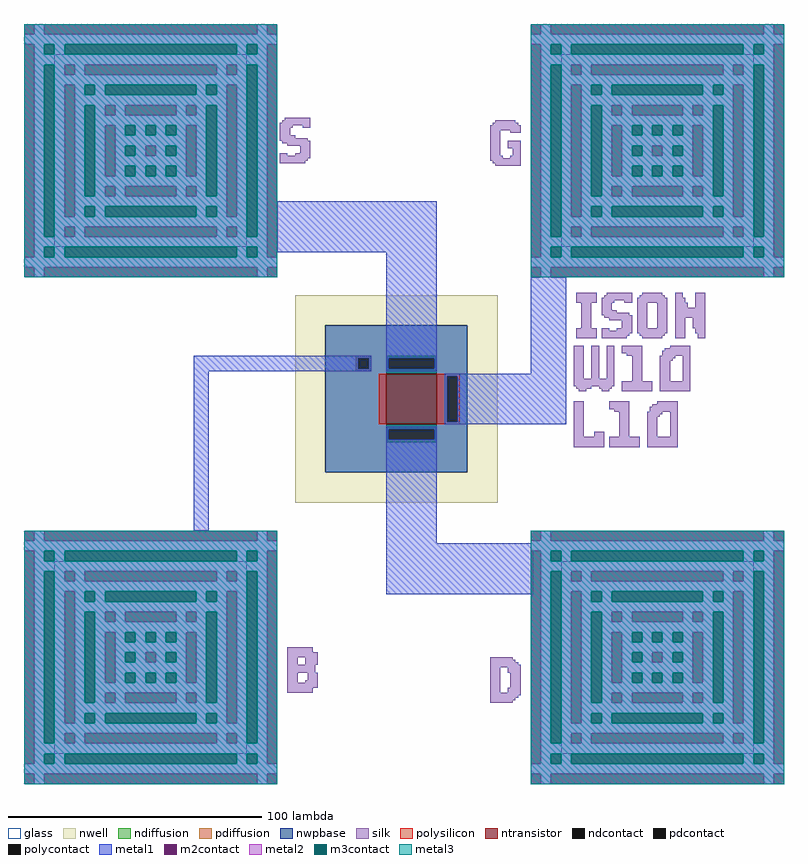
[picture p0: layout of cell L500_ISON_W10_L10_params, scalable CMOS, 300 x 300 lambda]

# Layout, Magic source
magic
tech scmos
<< nwell >>
rect -13 84 67 96
rect -13 26 -1 84
rect 55 26 67 84
rect -13 14 67 26
<< polysilicon >>
rect 20 45 23 65
rect 43 64 52 65
rect 43 46 47 64
rect 51 46 52 64
rect 43 45 52 46
<< ndiffusion >>
rect 23 71 43 72
rect 23 67 24 71
rect 42 67 43 71
rect 23 65 43 67
rect 23 43 43 45
rect 23 39 24 43
rect 42 39 43 43
rect 23 38 43 39
<< pdiffusion >>
rect 11 71 17 72
rect 11 67 12 71
rect 16 67 17 71
rect 11 66 17 67
<< metal1 >>
rect -20 113 43 133
rect -53 71 17 72
rect -53 67 12 71
rect 16 67 17 71
rect -53 66 17 67
rect 23 71 43 113
rect 23 67 24 71
rect 42 67 43 71
rect 23 66 43 67
rect -53 3 -47 66
rect 80 65 94 103
rect 46 64 94 65
rect 46 46 47 64
rect 51 46 94 64
rect 46 45 94 46
rect 23 43 43 44
rect 23 39 24 43
rect 42 39 43 43
rect 23 -2 43 39
rect 23 -22 81 -2
<< ntransistor >>
rect 23 45 43 65
<< nwpbase >>
rect -1 26 55 84
<< polycontact >>
rect 47 46 51 64
<< ndcontact >>
rect 24 67 42 71
rect 24 39 42 43
<< pdcontact >>
rect 12 67 16 71
use L500_TPAD_blank  L500_TPAD_blank_0
transform 1 0 -120 0 1 103
box 0 0 100 100
use L500_CHAR_s  L500_CHAR_s_0
transform 1 0 -19 0 1 148
box 0 0 12 18
use L500_CHAR_g  L500_CHAR_g_0
transform 1 0 64 0 1 147
box 0 0 12 18
use L500_TPAD_blank  L500_TPAD_blank_1
transform 1 0 80 0 1 103
box 0 0 100 100
use L500_CHAR_i  L500_CHAR_i_0
transform 1 0 98 0 1 79
box 0 0 8 18
use L500_CHAR_s  L500_CHAR_s_1
transform 1 0 108 0 1 79
box 0 0 12 18
use L500_CHAR_o  L500_CHAR_o_0
transform 1 0 122 0 1 79
box 0 0 12 18
use L500_CHAR_n  L500_CHAR_n_0
transform 1 0 137 0 1 79
box 0 0 12 18
use L500_CHAR_w  L500_CHAR_w_0
transform 1 0 97 0 1 58
box 0 0 16 18
use L500_CHAR_1  L500_CHAR_1_0
transform 1 0 116 0 1 58
box 0 0 12 18
use L500_CHAR_0  L500_CHAR_0_0
transform 1 0 131 0 1 58
box 0 0 12 18
use L500_CHAR_l  L500_CHAR_l_0
transform 1 0 97 0 1 36
box 0 0 12 18
use L500_CHAR_1  L500_CHAR_1_1
transform 1 0 111 0 1 36
box 0 0 12 18
use L500_CHAR_0  L500_CHAR_0_1
transform 1 0 126 0 1 36
box 0 0 12 18
use L500_TPAD_blank  L500_TPAD_blank_3
transform 1 0 -120 0 1 -97
box 0 0 100 100
use L500_CHAR_b  L500_CHAR_b_0
transform 1 0 -16 0 1 -61
box 0 0 12 18
use L500_CHAR_d  L500_CHAR_d_0
transform 1 0 64 0 1 -65
box 0 0 12 18
use L500_TPAD_blank  L500_TPAD_blank_2
transform 1 0 80 0 1 -97
box 0 0 100 100
<< end >>

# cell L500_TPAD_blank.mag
magic
tech scmos
<< metal1 >>
rect 4 96 8 100
rect 92 96 96 100
rect 0 92 100 96
rect 4 84 96 92
rect 4 80 16 84
rect 20 80 24 84
rect 76 80 80 84
rect 84 80 96 84
rect 4 76 96 80
rect 4 24 16 76
rect 20 68 80 76
rect 20 64 32 68
rect 36 64 40 68
rect 60 64 64 68
rect 68 64 80 68
rect 20 60 80 64
rect 20 40 32 60
rect 36 52 64 60
rect 36 48 48 52
rect 52 48 64 52
rect 36 40 64 48
rect 68 40 80 60
rect 20 36 80 40
rect 20 32 32 36
rect 36 32 40 36
rect 60 32 64 36
rect 68 32 80 36
rect 20 24 80 32
rect 84 24 96 76
rect 4 20 96 24
rect 4 16 16 20
rect 20 16 24 20
rect 76 16 80 20
rect 84 16 96 20
rect 4 8 96 16
rect 0 4 100 8
rect 4 0 8 4
rect 92 0 96 4
<< metal2 >>
rect 4 96 8 100
rect 92 96 96 100
rect 0 92 100 96
rect 4 88 8 92
rect 12 88 16 92
rect 84 88 88 92
rect 92 88 96 92
rect 4 84 96 88
rect 4 16 8 84
rect 12 80 16 84
rect 20 80 24 84
rect 76 80 80 84
rect 84 80 88 84
rect 12 76 88 80
rect 12 24 16 76
rect 20 72 24 76
rect 28 72 32 76
rect 68 72 72 76
rect 76 72 80 76
rect 20 68 80 72
rect 20 32 24 68
rect 28 64 32 68
rect 36 64 40 68
rect 60 64 64 68
rect 68 64 72 68
rect 28 60 72 64
rect 28 40 32 60
rect 36 56 40 60
rect 44 56 48 60
rect 52 56 56 60
rect 60 56 64 60
rect 36 52 64 56
rect 36 48 40 52
rect 44 48 48 52
rect 52 48 56 52
rect 60 48 64 52
rect 36 44 64 48
rect 36 40 40 44
rect 44 40 48 44
rect 52 40 56 44
rect 60 40 64 44
rect 68 40 72 60
rect 28 36 72 40
rect 28 32 32 36
rect 36 32 40 36
rect 60 32 64 36
rect 68 32 72 36
rect 76 32 80 68
rect 20 28 80 32
rect 20 24 24 28
rect 28 24 32 28
rect 68 24 72 28
rect 76 24 80 28
rect 84 24 88 76
rect 12 20 88 24
rect 12 16 16 20
rect 20 16 24 20
rect 76 16 80 20
rect 84 16 88 20
rect 92 16 96 84
rect 4 12 96 16
rect 4 8 8 12
rect 12 8 16 12
rect 84 8 88 12
rect 92 8 96 12
rect 0 4 100 8
rect 4 0 8 4
rect 92 0 96 4
<< metal3 >>
rect 0 92 100 100
rect 0 88 8 92
rect 12 88 16 92
rect 84 88 88 92
rect 92 88 100 92
rect 0 84 100 88
rect 0 16 8 84
rect 12 76 88 84
rect 12 72 24 76
rect 28 72 32 76
rect 68 72 72 76
rect 76 72 88 76
rect 12 68 88 72
rect 12 32 24 68
rect 28 60 72 68
rect 28 56 40 60
rect 44 56 48 60
rect 52 56 56 60
rect 60 56 72 60
rect 28 52 72 56
rect 28 48 40 52
rect 44 48 56 52
rect 60 48 72 52
rect 28 44 72 48
rect 28 40 40 44
rect 44 40 48 44
rect 52 40 56 44
rect 60 40 72 44
rect 28 32 72 40
rect 76 32 88 68
rect 12 28 88 32
rect 12 24 24 28
rect 28 24 32 28
rect 68 24 72 28
rect 76 24 88 28
rect 12 16 88 24
rect 92 16 100 84
rect 0 12 100 16
rect 0 8 8 12
rect 12 8 16 12
rect 84 8 88 12
rect 92 8 100 12
rect 0 0 100 8
<< m2contact >>
rect 0 96 4 100
rect 8 96 92 100
rect 96 96 100 100
rect 0 8 4 92
rect 16 80 20 84
rect 24 80 76 84
rect 80 80 84 84
rect 16 24 20 76
rect 32 64 36 68
rect 40 64 60 68
rect 64 64 68 68
rect 32 40 36 60
rect 48 48 52 52
rect 64 40 68 60
rect 32 32 36 36
rect 40 32 60 36
rect 64 32 68 36
rect 80 24 84 76
rect 16 16 20 20
rect 24 16 76 20
rect 80 16 84 20
rect 96 8 100 92
rect 0 0 4 4
rect 8 0 92 4
rect 96 0 100 4
<< m3contact >>
rect 8 88 12 92
rect 16 88 84 92
rect 88 88 92 92
rect 8 16 12 84
rect 24 72 28 76
rect 32 72 68 76
rect 72 72 76 76
rect 24 32 28 68
rect 40 56 44 60
rect 48 56 52 60
rect 56 56 60 60
rect 40 48 44 52
rect 56 48 60 52
rect 40 40 44 44
rect 48 40 52 44
rect 56 40 60 44
rect 72 32 76 68
rect 24 24 28 28
rect 32 24 68 28
rect 72 24 76 28
rect 88 16 92 84
rect 8 8 12 12
rect 16 8 84 12
rect 88 8 92 12
<< glass >>
rect 12 12 88 88
<< end >>

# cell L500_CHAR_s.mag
magic
tech scmos
<< silk >>
rect 2 17 12 18
rect 1 16 12 17
rect 0 15 12 16
rect 0 14 5 15
rect 9 14 12 15
rect 0 11 4 14
rect 0 10 6 11
rect 0 9 11 10
rect 1 8 12 9
rect 3 7 12 8
rect 8 4 12 7
rect 0 3 3 4
rect 6 3 12 4
rect 0 2 12 3
rect 0 1 11 2
rect 0 0 10 1
<< end >>

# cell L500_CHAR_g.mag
magic
tech scmos
<< silk >>
rect 2 17 10 18
rect 1 16 11 17
rect 0 14 12 16
rect 0 4 4 14
rect 8 13 12 14
rect 7 7 12 10
rect 9 4 12 7
rect 0 3 5 4
rect 8 3 12 4
rect 0 2 12 3
rect 1 1 12 2
rect 2 0 12 1
<< end >>

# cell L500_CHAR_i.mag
magic
tech scmos
<< silk >>
rect 0 14 8 18
rect 2 4 6 14
rect 0 0 8 4
<< end >>

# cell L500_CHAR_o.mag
magic
tech scmos
<< silk >>
rect 2 17 10 18
rect 1 16 11 17
rect 0 14 12 16
rect 0 4 4 14
rect 8 4 12 14
rect 0 2 12 4
rect 1 1 11 2
rect 2 0 10 1
<< end >>

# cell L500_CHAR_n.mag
magic
tech scmos
<< silk >>
rect 0 16 3 18
rect 0 14 4 16
rect 0 12 5 14
rect 8 12 12 18
rect 0 8 12 12
rect 0 0 4 8
rect 7 4 12 8
rect 8 2 12 4
rect 9 0 12 2
<< end >>

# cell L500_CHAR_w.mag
magic
tech scmos
<< silk >>
rect 0 5 4 18
rect 7 5 10 18
rect 13 5 16 18
rect 0 2 16 5
rect 1 1 7 2
rect 10 1 15 2
rect 2 0 5 1
rect 11 0 14 1
<< end >>

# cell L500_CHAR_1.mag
magic
tech scmos
<< silk >>
rect 0 15 8 18
rect 2 14 8 15
rect 4 4 8 14
rect 0 0 12 4
<< end >>

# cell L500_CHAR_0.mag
magic
tech scmos
<< silk >>
rect 4 17 12 18
rect 2 16 12 17
rect 1 14 12 16
rect 0 13 6 14
rect 0 12 5 13
rect 0 4 4 12
rect 9 4 12 14
rect 0 0 12 4
<< end >>

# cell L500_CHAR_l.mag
magic
tech scmos
<< silk >>
rect 0 4 4 18
rect 8 4 12 6
rect 0 0 12 4
<< end >>

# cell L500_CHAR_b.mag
magic
tech scmos
<< silk >>
rect 0 16 10 18
rect 0 14 12 16
rect 0 11 4 14
rect 7 11 12 14
rect 0 8 11 11
rect 0 4 4 8
rect 8 5 12 8
rect 7 4 12 5
rect 0 2 12 4
rect 0 0 10 2
<< end >>

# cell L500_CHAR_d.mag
magic
tech scmos
<< silk >>
rect 0 17 9 18
rect 0 16 10 17
rect 0 15 11 16
rect 0 14 12 15
rect 0 4 4 14
rect 7 12 12 14
rect 8 6 12 12
rect 7 4 12 6
rect 0 3 12 4
rect 0 2 11 3
rect 0 1 10 2
rect 0 0 9 1
<< end >>
